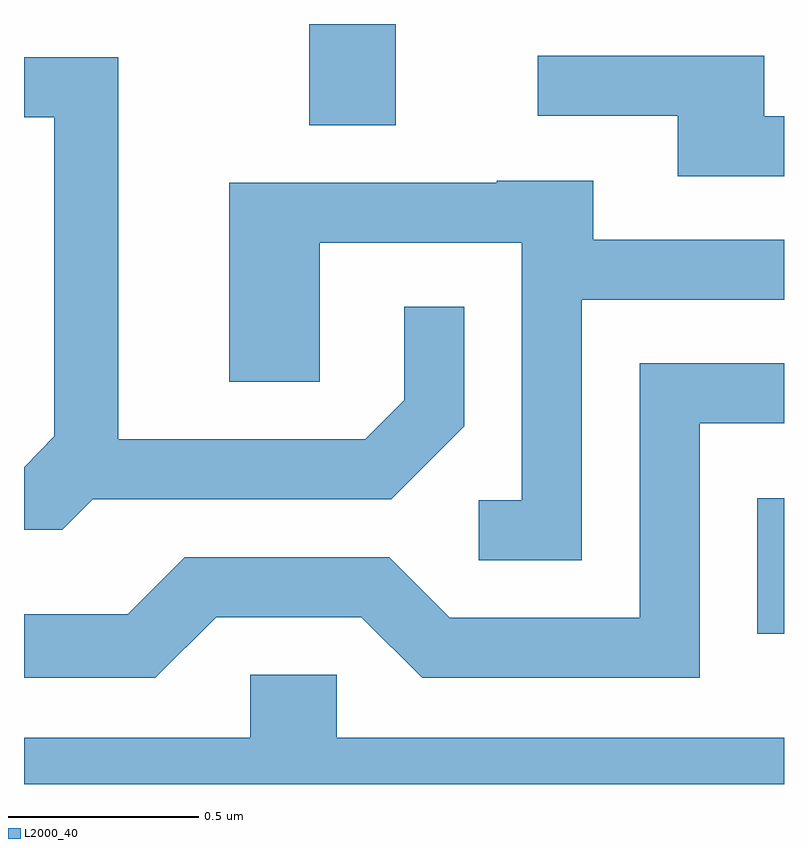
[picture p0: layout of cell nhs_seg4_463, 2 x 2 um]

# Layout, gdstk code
import gdstk
lib = gdstk.Library(unit=1e-6, precision=1e-09)
def R(c, l, rs):  # rectangles x0, y0, x1, y1
    for r in rs: c.add(gdstk.rectangle(r[:2], r[2:], *l))
def P(c, l, *ps):  # polygons
    for p in ps: c.add(gdstk.Polygon(p, *l))
L2000_40 = (2000, 40)

nhs_seg4_463 = lib.new_cell('nhs_seg4_463')
R(nhs_seg4_463, L2000_40, [(190.541,1306.378,190.611,1306.734), (189.361,1307.716,189.589,1307.982)])
P(nhs_seg4_463, L2000_40, [(190.611,1307.739),(190.559,1307.739),(190.559,1307.899),(189.963,1307.899),(189.963,1307.741),(190.331,1307.741),(190.331,1307.581),(190.611,1307.581)],
  [(188.792,1306.731),(189.577,1306.731),(189.769,1306.924),(189.769,1307.238),(189.611,1307.238),(189.611,1306.992),(189.509,1306.889),(188.859,1306.889),(188.859,1307.894),(188.611,1307.894),(188.611,1307.736),(188.691,1307.736),(188.691,1306.897),(188.611,1306.816),(188.611,1306.651),(188.712,1306.651)],
  [(190.079,1307.256),(190.611,1307.256),(190.611,1307.414),(190.109,1307.414),(190.109,1307.569),(189.855,1307.569),(189.855,1307.564),(189.151,1307.564),(189.151,1307.041),(189.389,1307.041),(189.389,1307.406),(189.921,1307.406),(189.921,1306.729),(189.808,1306.729),(189.808,1306.571),(190.079,1306.571)],
  [(189.117,1306.421),(189.499,1306.421),(189.659,1306.261),(190.389,1306.261),(190.389,1306.931),(190.611,1306.931),(190.611,1307.089),(190.231,1307.089),(190.231,1306.419),(189.732,1306.419),(189.572,1306.579),(189.034,1306.579),(188.884,1306.429),(188.611,1306.429),(188.611,1306.261),(188.957,1306.261)],
  [(190.611,1306.104),(189.434,1306.104),(189.434,1306.269),(189.206,1306.269),(189.206,1306.104),(188.611,1306.104),(188.611,1305.982),(190.611,1305.982)])

lib.write_gds('nhs_seg4_463.gds')
